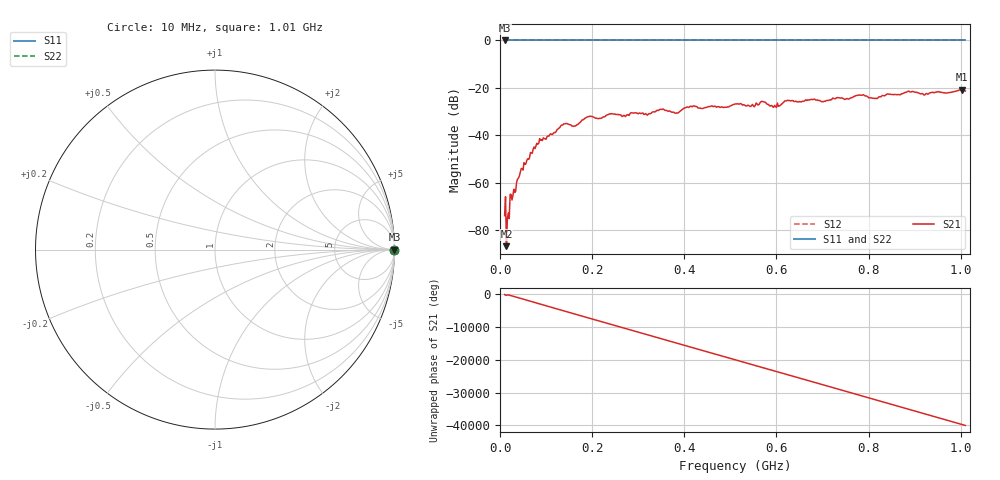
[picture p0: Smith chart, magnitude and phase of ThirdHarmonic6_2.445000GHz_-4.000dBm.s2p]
! 8/17/2025 4:19:38 AM
! C:\ANRITSUVNA\TEMP\TEMP.S2P
! CHANNEL.1
! TR.MEASUREMENT
! RAW.DATA
! RF.CORRECTION.OFF
! AVERAGING.OFF
! IF.BANDWIDTH: 5KHZ
! SWEEPTYPE:  FREQ.SWEEP(Linear)
! Reference Plane Port Info
! PORT:  PORT1  PORT2
! DISTANCE:  0  m  0  m
! TIME:  0  s  0  s
! PHASE.OFFSET:  0  deg.  0  deg.
! LOSS:  0  dB  0  dB
! REF.LOSS:  0  dB  0  dB
! REF.FREQ:  0  Hz  0  Hz
! Power Info
! POWER:  -20  dBm  -20  dBm
! EFF.POWER:  -20  dBm  -20  dBm
! SOURCE.ATTEN:  0  dB  0  dB
! TEST.ATTEN:  0  dB  0  dB
# GHZ S RI R 50.0
! FREQ.GHZ  S11RE  S11IM  S21RE  S21IM  S12RE  S12IM  S22RE  S22IM
!; PortSelection: Port_12
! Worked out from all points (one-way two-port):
!   501 points, 10 MHz to 1.01 GHz, reference 50 ohm
!   highest |S21| = -20.72 dB at 1.002 GHz (marker M1); lowest = -86.8 dB at 14 MHz (marker M2)
!   lowest |S11| = 0.0 dB at 10 MHz (marker M3)
!   |S11| at or under -10 dB: nowhere
!   |S22| runs from 0.0 to 0.0 dB; largest |S21 - S12| = 1.1
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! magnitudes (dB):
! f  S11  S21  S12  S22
! 10 MHz  0.0  -74.0  0.0  0.0
! 14 MHz  0.0  -86.8  0.0  0.0
! 18 MHz  0.0  -72.8  0.0  0.0
! 26 MHz  0.0  -67.3  0.0  0.0
! 30 MHz  0.0  -62.8  0.0  0.0
! 48 MHz  0.0  -54.1  0.0  0.0
! 82 MHz  0.0  -43.8  0.0  0.0
! 136 MHz  0.0  -35.7  0.0  0.0
! 162 MHz  0.0  -36.1  0.0  0.0
! 178 MHz  0.0  -33.6  0.0  0.0
! 344 MHz  0.0  -29.6  0.0  0.0
! 384 MHz  0.0  -30.6  0.0  0.0
! 416 MHz  0.0  -27.9  0.0  0.0
! 510 MHz  0.0  -26.8  0.0  0.0
! 570 MHz  0.0  -25.8  0.0  0.0
! 596 MHz  0.0  -27.4  0.0  0.0
! 622 MHz  0.0  -25.5  0.0  0.0
! 678 MHz  0.0  -24.9  0.0  0.0
! 816 MHz  0.0  -24.4  0.0  0.0
! 844 MHz  0.0  -22.7  0.0  0.0
! 1.002 GHz  0.0  -20.7  0.0  0.0
! 1.01 GHz  0.0  -21.3  0.0  0.0
